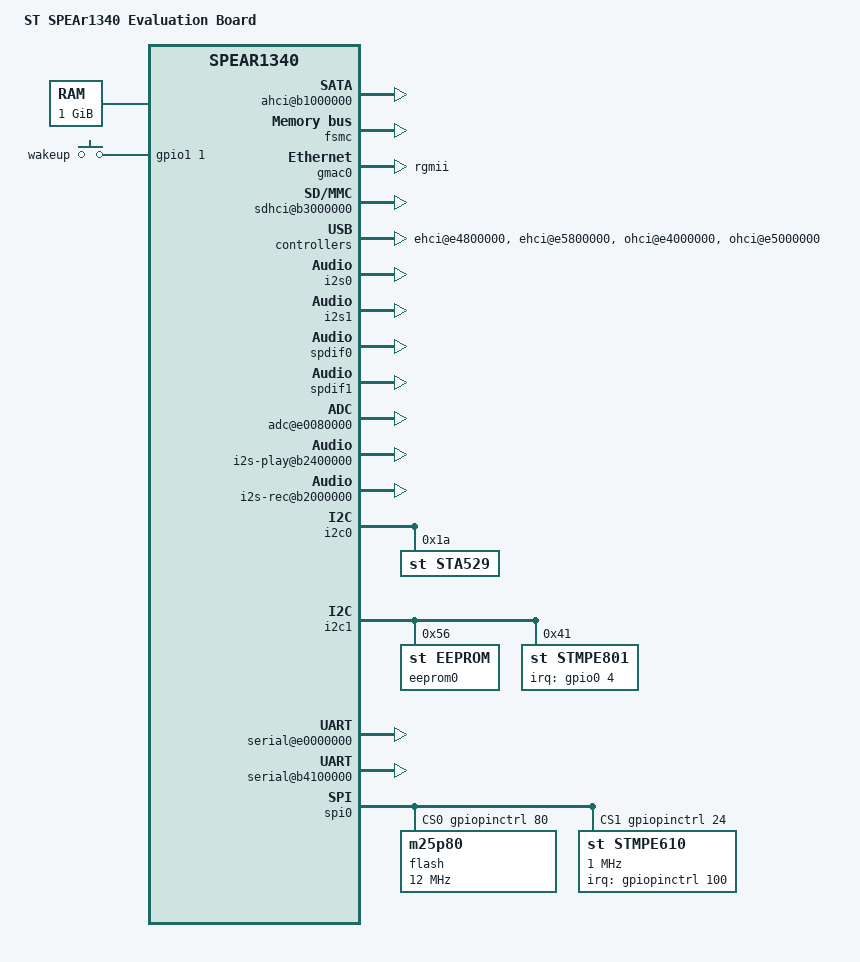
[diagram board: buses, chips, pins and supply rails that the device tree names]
// SPDX-License-Identifier: GPL-2.0-or-later
/*
 * DTS file for SPEAr1340 Evaluation Baord
 *
 * Copyright 2012 Viresh Kumar <vireshk@kernel.org>
 */

/dts-v1/;
/include/ "spear1340.dtsi"

/ {
	model = "ST SPEAr1340 Evaluation Board";
	compatible = "st,spear1340-evb", "st,spear1340";
	#address-cells = <1>;
	#size-cells = <1>;

	memory {
		reg = <0 0x40000000>;
	};

	ahb {
		pinmux@e0700000 {
			pinctrl-names = "default";
			pinctrl-0 = <&state_default>;

			state_default: pinmux {
				pads_as_gpio {
					st,pins = "pads_as_gpio_grp";
					st,function = "pads_as_gpio";
				};
				fsmc {
					st,pins = "fsmc_8bit_grp";
					st,function = "fsmc";
				};
				uart0 {
					st,pins = "uart0_grp";
					st,function = "uart0";
				};
				i2c0 {
					st,pins = "i2c0_grp";
					st,function = "i2c0";
				};
				i2c1 {
					st,pins = "i2c1_grp";
					st,function = "i2c1";
				};
				spdif-in {
					st,pins = "spdif_in_grp";
					st,function = "spdif_in";
				};
				spdif-out {
					st,pins = "spdif_out_grp";
					st,function = "spdif_out";
				};
				ssp0 {
					st,pins = "ssp0_grp", "ssp0_cs1_grp", "ssp0_cs2_grp", "ssp0_cs3_grp";
					st,function = "ssp0";
				};
				smi-pmx {
					st,pins = "smi_grp";
					st,function = "smi";
				};
				i2s {
					st,pins = "i2s_in_grp", "i2s_out_grp";
					st,function = "i2s";
				};
				gmac {
					st,pins = "gmii_grp", "rgmii_grp";
					st,function = "gmac";
				};
				cam0 {
					st,pins = "cam0_grp";
					st,function = "cam0";
				};
				cam1 {
					st,pins = "cam1_grp";
					st,function = "cam1";
				};
				cam2 {
					st,pins = "cam2_grp";
					st,function = "cam2";
				};
				cam3 {
					st,pins = "cam3_grp";
					st,function = "cam3";
				};
				cec0 {
					st,pins = "cec0_grp";
					st,function = "cec0";
				};
				cec1 {
					st,pins = "cec1_grp";
					st,function = "cec1";
				};
				sdhci {
					st,pins = "sdhci_grp";
					st,function = "sdhci";
				};
				clcd {
					st,pins = "clcd_grp";
					st,function = "clcd";
				};
				sata {
					st,pins = "sata_grp";
					st,function = "sata";
				};
				pcie {
					st,pins = "pcie_grp";
					st,function = "pcie";
				};

			};
		};

		ahci@b1000000 {
			status = "okay";
		};

		miphy@eb800000 {
			status = "okay";
		};

		dma@ea800000 {
			status = "okay";
		};

		dma@eb000000 {
			status = "okay";
		};

		fsmc: flash@b0000000 {
			status = "okay";

			partition@0 {
				label = "xloader";
				reg = <0x0 0x200000>;
			};
			partition@200000 {
				label = "u-boot";
				reg = <0x200000 0x200000>;
			};
			partition@400000 {
				label = "environment";
				reg = <0x400000 0x100000>;
			};
			partition@500000 {
				label = "dtb";
				reg = <0x500000 0x100000>;
			};
			partition@600000 {
				label = "linux";
				reg = <0x600000 0xC00000>;
			};
			partition@1200000 {
				label = "rootfs";
				reg = <0x1200000 0x0>;
			};
		};

		gmac0: eth@e2000000 {
			phy-mode = "rgmii";
			status = "okay";
		};

		sdhci@b3000000 {
			status = "okay";
		};

		smi: flash@ea000000 {
			status = "okay";
			clock-rate = <50000000>;

			flash@e6000000 {
				#address-cells = <1>;
				#size-cells = <1>;
				reg = <0xe6000000 0x800000>;
				st,smi-fast-mode;

				partition@0 {
					label = "xloader";
					reg = <0x0 0x10000>;
				};
				partition@10000 {
					label = "u-boot";
					reg = <0x10000 0x50000>;
				};
				partition@60000 {
					label = "environment";
					reg = <0x60000 0x10000>;
				};
				partition@70000 {
					label = "dtb";
					reg = <0x70000 0x10000>;
				};
				partition@80000 {
					label = "linux";
					reg = <0x80000 0x310000>;
				};
				partition@390000 {
					label = "rootfs";
					reg = <0x390000 0x0>;
				};
			};
		};

		ehci@e4800000 {
			status = "okay";
		};

		gpio_keys {
			compatible = "gpio-keys";
			#address-cells = <1>;
			#size-cells = <0>;

			button@1 {
				label = "wakeup";
				linux,code = <0x100>;
				gpios = <&gpio1 1 0x4>;
				debounce-interval = <20>;
				wakeup-source;
			};
		};

		ehci@e5800000 {
			status = "okay";
		};

		i2s0: i2s-play@b2400000 {
			status = "okay";
		};

		i2s1: i2s-rec@b2000000 {
			status = "okay";
		};

		incodec: dir-hifi {
			compatible = "dummy,dir-hifi";
			status = "okay";
		};

		ohci@e4000000 {
			status = "okay";
		};

		ohci@e5000000 {
			status = "okay";
		};

		outcodec: dit-hifi {
			compatible = "dummy,dit-hifi";
			status = "okay";
		};

		sound {
			compatible = "spear,spear-evb";
			audio-controllers = <&spdif0 &spdif1 &i2s0 &i2s1>;
			audio-codecs = <&incodec &outcodec &sta529 &sta529>;
			codec_dai_name = "dir-hifi", "dit-hifi", "sta529-audio", "sta529-audio";
			stream_name = "spdif-cap", "spdif-play", "i2s-play", "i2s-cap";
			dai_name = "spdifin-pcm", "spdifout-pcm", "i2s0-pcm", "i2s1-pcm";
			nr_controllers = <4>;
		        status = "okay";
		};

		spdif0: spdif-in@d0100000 {
			status = "okay";
		};

		spdif1: spdif-out@d0000000 {
			status = "okay";
		};

		apb {
			adc@e0080000 {
				status = "okay";
			};

			i2s-play@b2400000 {
				status = "okay";
			};

			i2s-rec@b2000000 {
				status = "okay";
			};

			gpio0: gpio@e0600000 {
			       status = "okay";
			};

			gpio1: gpio@e0680000 {
			       status = "okay";
			};

			gpio@e2800000 {
			       status = "okay";
			};

			i2c0: i2c@e0280000 {
			       status = "okay";

				sta529: sta529@1a {
					compatible = "st,sta529";
					reg = <0x1a>;
				};
			};

			i2c1: i2c@b4000000 {
			       status = "okay";

				eeprom0@56 {
					compatible = "st,eeprom";
					reg = <0x56>;
				};

				stmpe801@41 {
					compatible = "st,stmpe801";
					#address-cells = <1>;
					#size-cells = <0>;
					reg = <0x41>;
					interrupts = <4 0x4>;
					interrupt-parent = <&gpio0>;
					irq-trigger = <0x2>;

					stmpegpio: stmpe_gpio {
						compatible = "st,stmpe-gpio";
						gpio-controller;
						#gpio-cells = <2>;
					};
				};
			};

			kbd@e0300000 {
				linux,keymap = < 0x00000001
						 0x00010002
						 0x00020003
						 0x00030004
						 0x00040005
						 0x00050006
						 0x00060007
						 0x00070008
						 0x00080009
						 0x0100000a
						 0x0101000c
						 0x0102000d
						 0x0103000e
						 0x0104000f
						 0x01050010
						 0x01060011
						 0x01070012
						 0x01080013
						 0x02000014
						 0x02010015
						 0x02020016
						 0x02030017
						 0x02040018
						 0x02050019
						 0x0206001a
						 0x0207001b
						 0x0208001c
						 0x0300001d
						 0x0301001e
						 0x0302001f
						 0x03030020
						 0x03040021
						 0x03050022
						 0x03060023
						 0x03070024
						 0x03080025
						 0x04000026
						 0x04010027
						 0x04020028
						 0x04030029
						 0x0404002a
						 0x0405002b
						 0x0406002c
						 0x0407002d
						 0x0408002e
						 0x0500002f
						 0x05010030
						 0x05020031
						 0x05030032
						 0x05040033
						 0x05050034
						 0x05060035
						 0x05070036
						 0x05080037
						 0x06000038
						 0x06010039
						 0x0602003a
						 0x0603003b
						 0x0604003c
						 0x0605003d
						 0x0606003e
						 0x0607003f
						 0x06080040
						 0x07000041
						 0x07010042
						 0x07020043
						 0x07030044
						 0x07040045
						 0x07050046
						 0x07060047
						 0x07070048
						 0x07080049
						 0x0800004a
						 0x0801004b
						 0x0802004c
						 0x0803004d
						 0x0804004e
						 0x0805004f
						 0x08060050
						 0x08070051
						 0x08080052 >;
			       autorepeat;
			       st,mode = <0>;
			       suspended_rate = <2000000>;
			       status = "okay";
			};

			rtc@e0580000 {
			       status = "okay";
			};

			serial@e0000000 {
			       status = "okay";
				pinctrl-names = "default";
				pinctrl-0 = <>;
			};

			serial@b4100000 {
			       status = "okay";
				pinctrl-names = "default";
				pinctrl-0 = <>;
			};

			spi0: spi@e0100000 {
				status = "okay";
				num-cs = <3>;
				cs-gpios = <&gpiopinctrl 80 0>, <&gpiopinctrl 24 0>,
					   <&gpiopinctrl 85 0>;

				flash@0 {
					compatible = "m25p80";
					reg = <0>;
					spi-max-frequency = <12000000>;
					spi-cpol;
					spi-cpha;
					pl022,hierarchy = <0>;
					pl022,interface = <0>;
					pl022,slave-tx-disable;
					pl022,com-mode = <0x2>;
					pl022,rx-level-trig = <0>;
					pl022,tx-level-trig = <0>;
					pl022,ctrl-len = <0x11>;
					pl022,wait-state = <0>;
					pl022,duplex = <0>;
				};

				stmpe610@1 {
					compatible = "st,stmpe610";
					spi-max-frequency = <1000000>;
					spi-cpha;
					reg = <1>;
					pl022,hierarchy = <0>;
					pl022,interface = <0>;
					pl022,slave-tx-disable;
					pl022,com-mode = <0>;
					pl022,rx-level-trig = <0>;
					pl022,tx-level-trig = <0>;
					pl022,ctrl-len = <0x7>;
					pl022,wait-state = <0>;
					pl022,duplex = <0>;
					interrupts = <100 0>;
					interrupt-parent = <&gpiopinctrl>;
					irq-trigger = <0x2>;
					#address-cells = <1>;
					#size-cells = <0>;

					stmpe_touchscreen {
						compatible = "st,stmpe-ts";
						ts,sample-time = <4>;
						ts,mod-12b = <1>;
						ts,ref-sel = <0>;
						ts,adc-freq = <1>;
						ts,ave-ctrl = <1>;
						ts,touch-det-delay = <2>;
						ts,settling = <2>;
						ts,fraction-z = <7>;
						ts,i-drive = <1>;
					};
				};
			};

			timer@ec800600 {
				status = "okay";
			};

			wdt@ec800620 {
			       status = "okay";
			};
		};
	};
};
